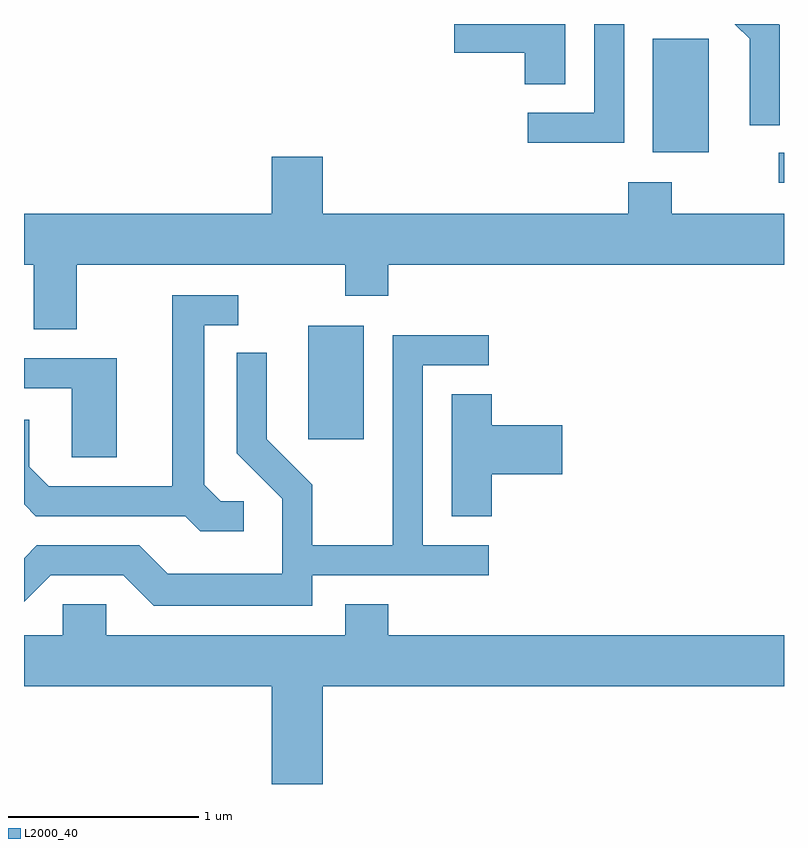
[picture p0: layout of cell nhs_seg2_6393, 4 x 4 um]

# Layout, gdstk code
import gdstk
lib = gdstk.Library(unit=1e-6, precision=1e-09)
def R(c, l, rs):  # rectangles x0, y0, x1, y1
    for r in rs: c.add(gdstk.rectangle(r[:2], r[2:], *l))
def P(c, l, *ps):  # polygons
    for p in ps: c.add(gdstk.Polygon(p, *l))
L2000_40 = (2000, 40)

nhs_seg2_6393 = lib.new_cell('nhs_seg2_6393')
R(nhs_seg2_6393, L2000_40, [(375.106,1049.616,375.399,1050.214), (377.583,1050.966,377.611,1051.124), (376.921,1051.126,377.214,1051.724)])
P(nhs_seg2_6393, L2000_40, [(376.459,1051.802),(375.876,1051.802),(375.876,1051.651),(376.246,1051.651),(376.246,1051.486),(376.459,1051.486)],
  [(377.589,1051.797),(377.584,1051.802),(377.353,1051.802),(377.431,1051.724),(377.431,1051.268),(377.589,1051.268)],
  [(376.769,1051.802),(376.611,1051.802),(376.611,1051.334),(376.263,1051.334),(376.263,1051.176),(376.769,1051.176)],
  [(373.889,1050.536),(375.301,1050.536),(375.301,1050.371),(375.529,1050.371),(375.529,1050.536),(377.611,1050.536),(377.611,1050.804),(377.019,1050.804),(377.019,1050.969),(376.791,1050.969),(376.791,1050.804),(375.184,1050.804),(375.184,1051.104),(374.916,1051.104),(374.916,1050.804),(373.611,1050.804),(373.611,1050.536),(373.661,1050.536),(373.661,1050.196),(373.889,1050.196)],
  [(374.768,1049.289),(374.647,1049.289),(374.559,1049.377),(374.559,1050.216),(374.738,1050.216),(374.738,1050.374),(374.391,1050.374),(374.391,1049.369),(373.742,1049.369),(373.639,1049.472),(373.639,1049.718),(373.611,1049.718),(373.611,1049.274),(373.674,1049.211),(374.459,1049.211),(374.539,1049.131),(374.768,1049.131)],
  [(375.129,1048.901),(376.058,1048.901),(376.058,1049.059),(375.709,1049.059),(375.709,1050.006),(376.058,1050.006),(376.058,1050.164),(375.551,1050.164),(375.551,1049.059),(375.129,1049.059),(375.129,1049.377),(374.889,1049.617),(374.889,1050.073),(374.731,1050.073),(374.731,1049.544),(374.971,1049.304),(374.971,1048.909),(374.367,1048.909),(374.217,1049.059),(373.679,1049.059),(373.611,1048.991),(373.611,1048.76),(373.752,1048.901),(374.134,1048.901),(374.294,1048.741),(375.129,1048.741)],
  [(374.099,1050.044),(373.611,1050.044),(373.611,1049.886),(373.861,1049.886),(373.861,1049.521),(374.099,1049.521)],
  [(376.074,1049.431),(376.444,1049.431),(376.444,1049.689),(376.074,1049.689),(376.074,1049.854),(375.861,1049.854),(375.861,1049.211),(376.074,1049.211)],
  [(375.184,1048.316),(377.611,1048.316),(377.611,1048.584),(375.529,1048.584),(375.529,1048.749),(375.301,1048.749),(375.301,1048.584),(374.044,1048.584),(374.044,1048.749),(373.816,1048.749),(373.816,1048.584),(373.611,1048.584),(373.611,1048.316),(374.916,1048.316),(374.916,1047.802),(375.184,1047.802)])

lib.write_gds('nhs_seg2_6393.gds')
